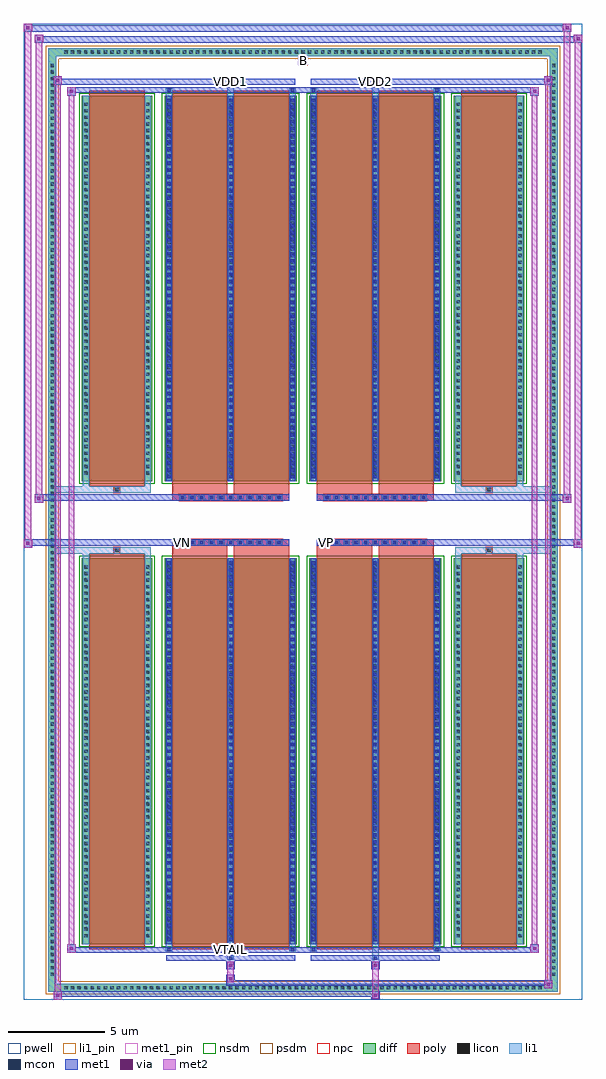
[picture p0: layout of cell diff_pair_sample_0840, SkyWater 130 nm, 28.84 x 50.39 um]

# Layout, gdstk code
import gdstk
lib = gdstk.Library(unit=1e-6, precision=5e-09)
def R(c, l, rs):  # rectangles x0, y0, x1, y1
    for r in rs: c.add(gdstk.rectangle(r[:2], r[2:], *l))
def A(c, l, x, y, w, h, nx, ny, dx, dy):  # array of equal rectangles
    R(c, l, [(x+i*dx, y+j*dy, x+i*dx+w, y+j*dy+h) for i in range(nx) for j in range(ny)])
def P(c, l, *ps):  # polygons
    for p in ps: c.add(gdstk.Polygon(p, *l))
pwell = (64, 44)
diff = (65, 20)
poly = (66, 20)
licon = (66, 44)
li1_pin = (67, 16)
li1 = (67, 20)
mcon = (67, 44)
met1_pin = (68, 16)
met1 = (68, 20)
via = (68, 44)
met2 = (69, 20)
nsdm = (93, 44)
psdm = (94, 20)
npc = (95, 20)

diff_pair_sample_0840 = lib.new_cell('diff_pair_sample_0840')
R(diff_pair_sample_0840, pwell, [(-14.42,-24.76,14.42,25.63), (-11.74,-22.95,-0.01,-0.795), (0.01,-22.95,11.74,-0.795), (-11.74,0.795,-0.01,22.95), (0.01,0.795,11.74,22.95)])
A(diff_pair_sample_0840, diff, -12.445, -24.36, 0.41, 0.41, 73, 2, 0.34, 48.31)
A(diff_pair_sample_0840, diff, -13.15, -23.665, 0.41, 0.41, 1, 139, 0, 0.34)
A(diff_pair_sample_0840, diff, 12.74, -23.665, 0.41, 0.41, 1, 139, 0, 0.34)
R(diff_pair_sample_0840, diff, [(-12.445,-24.36,12.445,-23.95), (-13.15,-23.665,-12.74,23.665), (12.74,-23.665,13.15,23.665), (-11.43,-21.905,-7.79,-1.985), (-7.15,-21.905,-0.32,-1.985), (0.32,-21.905,7.15,-1.985), (7.79,-21.905,11.43,-1.985), (-11.43,1.985,-7.79,21.905), (-7.15,1.985,-0.32,21.905), (0.32,1.985,7.15,21.905), (7.79,1.985,11.43,21.905), (-12.445,23.95,12.445,24.36)])
P(diff_pair_sample_0840, diff, [(13.15,24.36),(-13.15,24.36),(-13.15,-23.95),(-12.74,-23.95),(-12.74,23.95),(12.74,23.95),(12.74,-23.95),(-12.74,-23.95),(-13.15,-23.95),(-13.15,-24.36),(13.15,-24.36)])
A(diff_pair_sample_0840, poly, -6.4, -1.325, 0.33, 0.33, 11, 2, 0.5, 2.32)
A(diff_pair_sample_0840, poly, 1.07, -1.325, 0.33, 0.33, 11, 2, 0.5, 2.32)
R(diff_pair_sample_0840, poly, [(-11.04,-22.155,-8.18,-1.735), (-6.76,-22.155,-3.9,-1.735), (-3.57,-22.155,-0.71,-1.735), (0.71,-22.155,3.57,-1.735), (3.9,-22.155,6.76,-1.735), (8.18,-22.155,11.04,-1.735), (-9.775,-1.735,-9.445,-1.405), (-9.775,-1.735,-9.445,-1.405), (-6.76,-1.735,-3.9,-1.325), (-3.57,-1.735,-0.71,-1.325), (0.71,-1.735,3.57,-1.325), (3.9,-1.735,6.76,-1.325), (9.445,-1.735,9.775,-1.405), (9.445,-1.735,9.775,-1.405), (-6.76,-1.325,-0.71,-0.995), (0.71,-1.325,6.76,-0.995), (-6.76,0.995,-0.71,1.325), (0.71,0.995,6.76,1.325), (-6.76,1.325,-3.9,1.735), (-3.57,1.325,-0.71,1.735), (0.71,1.325,3.57,1.735), (3.9,1.325,6.76,1.735), (-9.775,1.405,-9.445,1.735), (-9.775,1.405,-9.445,1.735), (9.445,1.405,9.775,1.735), (9.445,1.405,9.775,1.735), (-11.04,1.735,-8.18,22.155), (-6.76,1.735,-3.9,22.155), (-3.57,1.735,-0.71,22.155), (0.71,1.735,3.57,22.155), (3.9,1.735,6.76,22.155), (8.18,1.735,11.04,22.155)])
A(diff_pair_sample_0840, licon, -12.325, -24.24, 0.17, 0.17, 73, 2, 0.34, 48.31)
A(diff_pair_sample_0840, licon, -13.03, -23.545, 0.17, 0.17, 1, 139, 0, 0.34)
A(diff_pair_sample_0840, licon, 12.86, -23.545, 0.17, 0.17, 1, 139, 0, 0.34)
A(diff_pair_sample_0840, licon, -11.29, -21.55, 0.17, 0.17, 1, 57, 0, 0.34)
A(diff_pair_sample_0840, licon, -8.1, -21.55, 0.17, 0.17, 1, 57, 0, 0.34)
A(diff_pair_sample_0840, licon, -7.01, -21.55, 0.17, 0.17, 3, 57, 3.19, 0.34)
A(diff_pair_sample_0840, licon, 0.46, -21.55, 0.17, 0.17, 3, 57, 3.19, 0.34)
A(diff_pair_sample_0840, licon, 7.93, -21.55, 0.17, 0.17, 1, 57, 0, 0.34)
A(diff_pair_sample_0840, licon, 11.12, -21.55, 0.17, 0.17, 1, 57, 0, 0.34)
A(diff_pair_sample_0840, licon, -6.32, -1.245, 0.17, 0.17, 11, 2, 0.5, 2.32)
A(diff_pair_sample_0840, licon, 1.15, -1.245, 0.17, 0.17, 11, 2, 0.5, 2.32)
A(diff_pair_sample_0840, licon, -11.29, 2.34, 0.17, 0.17, 1, 57, 0, 0.34)
A(diff_pair_sample_0840, licon, -8.1, 2.34, 0.17, 0.17, 1, 57, 0, 0.34)
A(diff_pair_sample_0840, licon, -7.01, 2.34, 0.17, 0.17, 3, 57, 3.19, 0.34)
A(diff_pair_sample_0840, licon, 0.46, 2.34, 0.17, 0.17, 3, 57, 3.19, 0.34)
A(diff_pair_sample_0840, licon, 7.93, 2.34, 0.17, 0.17, 1, 57, 0, 0.34)
A(diff_pair_sample_0840, licon, 11.12, 2.34, 0.17, 0.17, 1, 57, 0, 0.34)
R(diff_pair_sample_0840, licon, [(-9.695,-1.655,-9.525,-1.485), (9.525,-1.655,9.695,-1.485), (-9.695,1.485,-9.525,1.655), (9.525,1.485,9.695,1.655)])
R(diff_pair_sample_0840, li1_pin, [(-0.25,23.45,0.25,23.95)])
A(diff_pair_sample_0840, li1, -12.405, -24.32, 0.33, 0.33, 73, 2, 0.34, 48.31)
A(diff_pair_sample_0840, li1, -13.11, -23.625, 0.33, 0.33, 1, 139, 0, 0.34)
A(diff_pair_sample_0840, li1, 12.78, -23.625, 0.33, 0.33, 1, 139, 0, 0.34)
A(diff_pair_sample_0840, li1, -7.09, -21.905, 0.33, 19.92, 3, 2, 3.19, 23.89)
A(diff_pair_sample_0840, li1, 0.38, -21.905, 0.33, 19.92, 3, 2, 3.19, 23.89)
A(diff_pair_sample_0840, li1, -7.01, -21.75, 0.17, 0.17, 3, 55, 3.19, 0.36)
A(diff_pair_sample_0840, li1, -7.01, -21.75, 0.17, 19.61, 3, 2, 3.19, 23.89)
A(diff_pair_sample_0840, li1, 0.46, -21.75, 0.17, 0.17, 3, 55, 3.19, 0.36)
A(diff_pair_sample_0840, li1, 0.46, -21.75, 0.17, 19.61, 3, 2, 3.19, 23.89)
A(diff_pair_sample_0840, li1, -11.37, -21.63, 0.33, 0.33, 1, 57, 0, 0.34)
A(diff_pair_sample_0840, li1, -8.18, -21.63, 0.33, 0.33, 1, 57, 0, 0.34)
A(diff_pair_sample_0840, li1, -7.09, -21.63, 0.33, 0.33, 3, 57, 3.19, 0.34)
A(diff_pair_sample_0840, li1, 0.38, -21.63, 0.33, 0.33, 3, 57, 3.19, 0.34)
A(diff_pair_sample_0840, li1, 7.85, -21.63, 0.33, 0.33, 1, 57, 0, 0.34)
A(diff_pair_sample_0840, li1, 11.04, -21.63, 0.33, 0.33, 1, 57, 0, 0.34)
A(diff_pair_sample_0840, li1, -6.4, -1.325, 0.33, 0.33, 11, 2, 0.5, 2.32)
A(diff_pair_sample_0840, li1, 1.07, -1.325, 0.33, 0.33, 11, 2, 0.5, 2.32)
A(diff_pair_sample_0840, li1, -7.01, 2.14, 0.17, 0.17, 3, 55, 3.19, 0.36)
A(diff_pair_sample_0840, li1, 0.46, 2.14, 0.17, 0.17, 3, 55, 3.19, 0.36)
A(diff_pair_sample_0840, li1, -11.37, 2.26, 0.33, 0.33, 1, 57, 0, 0.34)
A(diff_pair_sample_0840, li1, -8.18, 2.26, 0.33, 0.33, 1, 57, 0, 0.34)
A(diff_pair_sample_0840, li1, -7.09, 2.26, 0.33, 0.33, 3, 57, 3.19, 0.34)
A(diff_pair_sample_0840, li1, 0.38, 2.26, 0.33, 0.33, 3, 57, 3.19, 0.34)
A(diff_pair_sample_0840, li1, 7.85, 2.26, 0.33, 0.33, 1, 57, 0, 0.34)
A(diff_pair_sample_0840, li1, 11.04, 2.26, 0.33, 0.33, 1, 57, 0, 0.34)
R(diff_pair_sample_0840, li1, [(-13.15,-24.36,-12.74,-23.95), (-13.15,-24.36,-12.74,-23.95), (-12.74,-24.36,12.74,-23.95), (12.74,-24.36,13.15,-23.95), (12.74,-24.36,13.15,-23.95), (-13.15,-23.95,-12.74,23.95), (12.74,-23.95,13.15,23.95), (-3.9,-22.71,-3.57,-21.905), (-3.82,-22.71,-3.65,-22.54), (3.57,-22.71,3.9,-21.905), (3.65,-22.71,3.82,-22.54), (-7.09,-22.28,-6.76,-21.905), (-7.01,-22.28,-6.84,-22.11), (-0.71,-22.28,-0.38,-21.905), (-0.63,-22.28,-0.46,-22.11), (0.38,-22.28,0.71,-21.905), (0.46,-22.28,0.63,-22.11), (6.76,-22.28,7.09,-21.905), (6.84,-22.28,7.01,-22.11), (-11.37,-21.905,-11.04,-1.985), (-8.18,-21.905,-7.85,-1.985), (7.85,-21.905,8.18,-1.985), (11.04,-21.905,11.37,-1.985), (-11.37,-1.985,-11.04,-1.405), (-8.18,-1.985,-7.85,-1.405), (7.85,-1.985,8.18,-1.405), (11.04,-1.985,11.37,-1.405), (-13.15,-1.735,-9.775,-1.405), (-11.37,-1.735,-9.775,-1.405), (-9.775,-1.735,-9.445,-1.405), (-9.445,-1.735,-7.85,-1.405), (7.85,-1.735,9.445,-1.405), (9.445,-1.735,9.775,-1.405), (9.445,-1.735,13.15,-1.405), (9.775,-1.735,11.37,-1.405), (-13.15,1.405,-9.775,1.735), (-11.37,1.405,-9.775,1.735), (-11.37,1.405,-11.04,1.985), (-9.775,1.405,-9.445,1.735), (-9.445,1.405,-7.85,1.735), (-8.18,1.405,-7.85,1.985), (7.85,1.405,9.445,1.735), (7.85,1.405,8.18,1.985), (9.445,1.405,9.775,1.735), (9.445,1.405,13.15,1.735), (9.775,1.405,11.37,1.735), (11.04,1.405,11.37,1.985), (-11.37,1.985,-11.04,21.905), (-8.18,1.985,-7.85,21.905), (7.85,1.985,8.18,21.905), (11.04,1.985,11.37,21.905), (-7.09,21.905,-6.76,22.28), (-3.9,21.905,-3.57,22.71), (-0.71,21.905,-0.38,22.28), (0.38,21.905,0.71,22.28), (3.57,21.905,3.9,22.71), (6.76,21.905,7.09,22.28), (-7.01,22.11,-6.84,22.28), (-0.63,22.11,-0.46,22.28), (0.46,22.11,0.63,22.28), (6.84,22.11,7.01,22.28), (-3.82,22.54,-3.65,22.71), (3.65,22.54,3.82,22.71), (-13.15,23.95,-12.74,24.36), (-13.15,23.95,-12.74,24.36), (-12.74,23.95,12.74,24.36), (12.74,23.95,13.15,24.36), (12.74,23.95,13.15,24.36)])
A(diff_pair_sample_0840, mcon, -7.01, -21.75, 0.17, 0.17, 3, 55, 3.19, 0.36)
A(diff_pair_sample_0840, mcon, 0.46, -21.75, 0.17, 0.17, 3, 55, 3.19, 0.36)
A(diff_pair_sample_0840, mcon, -6.32, -1.245, 0.17, 0.17, 11, 2, 0.5, 2.32)
A(diff_pair_sample_0840, mcon, 1.15, -1.245, 0.17, 0.17, 11, 2, 0.5, 2.32)
A(diff_pair_sample_0840, mcon, -7.01, 2.14, 0.17, 0.17, 3, 55, 3.19, 0.36)
A(diff_pair_sample_0840, mcon, 0.46, 2.14, 0.17, 0.17, 3, 55, 3.19, 0.36)
R(diff_pair_sample_0840, mcon, [(-3.82,-22.71,-3.65,-22.54), (3.65,-22.71,3.82,-22.54), (-7.01,-22.28,-6.84,-22.11), (-0.63,-22.28,-0.46,-22.11), (0.46,-22.28,0.63,-22.11), (6.84,-22.28,7.01,-22.11), (-7.01,22.11,-6.84,22.28), (-0.63,22.11,-0.46,22.28), (0.46,22.11,0.63,22.28), (6.84,22.11,7.01,22.28), (-3.82,22.54,-3.65,22.71), (3.65,22.54,3.82,22.71)])
R(diff_pair_sample_0840, met1_pin, [(-3.87,-22.32,-3.6,-22.05), (-6.37,-1.285,-6.1,-1.015), (1.1,-1.285,1.37,-1.015), (-3.87,22.5,-3.6,22.77), (3.6,22.5,3.87,22.77)])
A(diff_pair_sample_0840, met1, -7.07, -21.905, 0.29, 19.92, 3, 2, 3.19, 23.89)
A(diff_pair_sample_0840, met1, 0.4, -21.905, 0.29, 19.92, 3, 2, 3.19, 23.89)
A(diff_pair_sample_0840, met1, -7.07, -21.81, 0.29, 0.29, 3, 55, 3.19, 0.36)
A(diff_pair_sample_0840, met1, 0.4, -21.81, 0.29, 0.29, 3, 55, 3.19, 0.36)
A(diff_pair_sample_0840, met1, -6.38, -1.305, 0.29, 0.29, 11, 2, 0.5, 2.32)
A(diff_pair_sample_0840, met1, 1.09, -1.305, 0.29, 0.29, 11, 2, 0.5, 2.32)
A(diff_pair_sample_0840, met1, -7.07, 2.08, 0.29, 0.29, 3, 55, 3.19, 0.36)
A(diff_pair_sample_0840, met1, 0.4, 2.08, 0.29, 0.29, 3, 55, 3.19, 0.36)
R(diff_pair_sample_0840, met1, [(-12.88,-24.76,-12.45,-24.33), (3.52,-24.76,3.95,-24.33), (-12.88,-24.62,3.95,-24.33), (12.45,-24.19,12.88,-23.76), (-3.95,-24.05,12.88,-23.76), (-3.95,-23.91,-3.52,-23.48), (-3.95,-23.2,-3.52,-22.77), (3.52,-23.2,3.95,-22.77), (-7.07,-22.77,-0.4,-22.48), (-3.88,-22.77,-3.59,-22.48), (0.4,-22.77,7.07,-22.48), (3.59,-22.77,3.88,-22.48), (-12.17,-22.34,-11.74,-21.91), (-12.17,-22.34,-7.07,-22.05), (-7.07,-22.34,-6.78,-22.05), (-7.07,-22.34,-0.4,-22.05), (-0.69,-22.34,-0.4,-22.05), (-0.4,-22.34,0.4,-22.05), (0.4,-22.34,0.69,-22.05), (0.4,-22.34,7.07,-22.05), (6.78,-22.34,7.07,-22.05), (7.07,-22.34,12.17,-22.05), (11.74,-22.34,12.17,-21.91), (-14.42,-1.425,-13.99,-0.995), (13.99,-1.425,14.42,-0.995), (-14.42,-1.325,-0.71,-0.995), (-6.76,-1.325,-0.71,-0.995), (0.71,-1.325,6.76,-0.995), (0.71,-1.325,14.42,-0.995), (-13.85,0.895,-13.42,1.325), (13.42,0.895,13.85,1.325), (-13.85,0.995,-6.76,1.325), (-6.76,0.995,-0.71,1.325), (0.71,0.995,6.76,1.325), (6.76,0.995,13.85,1.325), (-12.17,21.91,-11.74,22.34), (11.74,21.91,12.17,22.34), (-12.17,22.05,-7.07,22.34), (-7.07,22.05,-6.78,22.34), (-7.07,22.05,-0.4,22.34), (-0.69,22.05,-0.4,22.34), (-0.4,22.05,0.4,22.34), (0.4,22.05,0.69,22.34), (0.4,22.05,7.07,22.34), (6.78,22.05,7.07,22.34), (7.07,22.05,12.17,22.34), (-12.88,22.48,-12.45,22.91), (-12.88,22.48,-7.07,22.77), (-7.07,22.48,-0.4,22.77), (-3.88,22.48,-3.59,22.77), (0.4,22.48,7.07,22.77), (3.59,22.48,3.88,22.77), (7.07,22.48,12.88,22.77), (12.45,22.48,12.88,22.91), (-13.85,24.63,-13.42,25.06), (-13.85,24.63,-11.74,24.96), (-11.74,24.63,11.74,24.96), (11.74,24.63,14.42,24.96), (13.99,24.63,14.42,25.06), (-14.42,25.2,-13.99,25.63), (-14.42,25.2,-11.74,25.53), (-11.74,25.2,11.74,25.53), (11.74,25.2,13.85,25.53), (13.42,25.2,13.85,25.63)])
R(diff_pair_sample_0840, via, [(-12.74,-24.62,-12.59,-24.47), (3.66,-24.62,3.81,-24.47), (12.59,-24.05,12.74,-23.9), (-3.81,-23.77,-3.66,-23.62), (-3.81,-23.06,-3.66,-22.91), (3.66,-23.06,3.81,-22.91), (-12.03,-22.2,-11.88,-22.05), (11.88,-22.2,12.03,-22.05), (-14.28,-1.285,-14.13,-1.135), (14.13,-1.285,14.28,-1.135), (-13.71,1.035,-13.56,1.185), (13.56,1.035,13.71,1.185), (-12.03,22.05,-11.88,22.2), (11.88,22.05,12.03,22.2), (-12.74,22.62,-12.59,22.77), (12.59,22.62,12.74,22.77), (-13.71,24.77,-13.56,24.92), (14.13,24.77,14.28,24.92), (-14.28,25.34,-14.13,25.49), (13.56,25.34,13.71,25.49)])
R(diff_pair_sample_0840, met2, [(-12.88,-24.76,-12.45,-24.33), (-12.81,-24.76,-12.52,22.91), (-12.52,-24.76,-12.45,-24.33), (-12.83,-24.71,-12.5,-24.38), (3.57,-24.71,3.9,-24.38), (3.57,-24.38,3.9,-23.15), (12.45,-24.19,12.88,-23.76), (12.52,-24.19,12.81,22.91), (12.81,-24.19,12.88,-23.76), (12.5,-24.14,12.83,-23.81), (-3.9,-23.86,-3.57,-23.53), (-3.9,-23.53,-3.57,-23.15), (-3.9,-23.15,-3.57,-22.82), (3.57,-23.15,3.9,-22.82), (-12.17,-22.34,-11.74,-21.91), (-12.1,-22.34,-11.81,22.34), (-11.81,-22.34,-11.74,-21.91), (11.74,-22.34,12.17,-21.91), (11.81,-22.34,12.1,22.34), (12.1,-22.34,12.17,-21.91), (-12.12,-22.29,-11.79,-21.96), (11.79,-22.29,12.12,-21.96), (-14.42,-1.425,-13.99,-0.995), (-14.37,-1.425,-14.04,25.63), (-14.04,-1.425,-13.99,-0.995), (13.99,-1.425,14.42,-0.995), (14.04,-1.425,14.37,25.06), (14.37,-1.425,14.42,-0.995), (-14.37,-1.375,-14.04,-1.045), (14.04,-1.375,14.37,-1.045), (-13.85,0.895,-13.42,1.325), (-13.8,0.895,-13.47,25.06), (-13.47,0.895,-13.42,1.325), (13.42,0.895,13.85,1.325), (13.47,0.895,13.8,25.63), (13.8,0.895,13.85,1.325), (-13.8,0.945,-13.47,1.275), (13.47,0.945,13.8,1.275), (-12.17,21.91,-11.74,22.34), (-11.81,21.91,-11.74,22.34), (11.74,21.91,12.17,22.34), (12.1,21.91,12.17,22.34), (-12.12,21.96,-11.79,22.29), (11.79,21.96,12.12,22.29), (-12.88,22.48,-12.45,22.91), (-12.52,22.48,-12.45,22.91), (12.45,22.48,12.88,22.91), (12.81,22.48,12.88,22.91), (-12.83,22.53,-12.5,22.86), (12.5,22.53,12.83,22.86), (-13.85,24.63,-13.42,25.06), (-13.47,24.63,-13.42,25.06), (13.99,24.63,14.42,25.06), (14.37,24.63,14.42,25.06), (-13.8,24.68,-13.47,25.01), (14.04,24.68,14.37,25.01), (-14.42,25.2,-13.99,25.63), (-14.04,25.2,-13.99,25.63), (13.42,25.2,13.85,25.63), (13.8,25.2,13.85,25.63), (-14.37,25.25,-14.04,25.58), (13.47,25.25,13.8,25.58)])
R(diff_pair_sample_0840, nsdm, [(-11.56,-22.035,-7.66,-1.855), (-7.28,-22.035,-0.19,-1.855), (0.19,-22.035,7.28,-1.855), (7.66,-22.035,11.56,-1.855), (-11.56,1.855,-7.66,22.035), (-7.28,1.855,-0.19,22.035), (0.19,1.855,7.28,22.035), (7.66,1.855,11.56,22.035)])
P(diff_pair_sample_0840, psdm, [(13.28,24.49),(-13.28,24.49),(-13.28,-23.82),(-12.61,-23.82),(-12.61,23.82),(12.61,23.82),(12.61,-23.82),(-12.61,-23.82),(-13.28,-23.82),(-13.28,-24.49),(13.28,-24.49)])
A(diff_pair_sample_0840, npc, -6.42, -1.345, 0.37, 0.37, 11, 2, 0.5, 2.32)
A(diff_pair_sample_0840, npc, 1.05, -1.345, 0.37, 0.37, 11, 2, 0.5, 2.32)
R(diff_pair_sample_0840, npc, [(-9.795,-1.755,-9.425,-1.385), (9.425,-1.755,9.795,-1.385), (-6.42,-1.345,-5.55,-0.975), (-6.42,-1.345,-5.55,-0.975), (-5.92,-1.345,-5.05,-0.975), (-5.92,-1.345,-5.05,-0.975), (-5.42,-1.345,-4.55,-0.975), (-5.42,-1.345,-4.55,-0.975), (-4.92,-1.345,-4.05,-0.975), (-4.92,-1.345,-4.05,-0.975), (-4.42,-1.345,-3.55,-0.975), (-4.42,-1.345,-3.55,-0.975), (-3.92,-1.345,-3.05,-0.975), (-3.92,-1.345,-3.05,-0.975), (-3.42,-1.345,-2.55,-0.975), (-3.42,-1.345,-2.55,-0.975), (-2.92,-1.345,-2.05,-0.975), (-2.92,-1.345,-2.05,-0.975), (-2.42,-1.345,-1.55,-0.975), (-2.42,-1.345,-1.55,-0.975), (-1.92,-1.345,-1.05,-0.975), (-1.92,-1.345,-1.05,-0.975), (1.05,-1.345,1.92,-0.975), (1.05,-1.345,1.92,-0.975), (1.55,-1.345,2.42,-0.975), (1.55,-1.345,2.42,-0.975), (2.05,-1.345,2.92,-0.975), (2.05,-1.345,2.92,-0.975), (2.55,-1.345,3.42,-0.975), (2.55,-1.345,3.42,-0.975), (3.05,-1.345,3.92,-0.975), (3.05,-1.345,3.92,-0.975), (3.55,-1.345,4.42,-0.975), (3.55,-1.345,4.42,-0.975), (4.05,-1.345,4.92,-0.975), (4.05,-1.345,4.92,-0.975), (4.55,-1.345,5.42,-0.975), (4.55,-1.345,5.42,-0.975), (5.05,-1.345,5.92,-0.975), (5.05,-1.345,5.92,-0.975), (5.55,-1.345,6.42,-0.975), (5.55,-1.345,6.42,-0.975), (-6.42,0.975,-5.55,1.345), (-6.42,0.975,-5.55,1.345), (-5.92,0.975,-5.05,1.345), (-5.92,0.975,-5.05,1.345), (-5.42,0.975,-4.55,1.345), (-5.42,0.975,-4.55,1.345), (-4.92,0.975,-4.05,1.345), (-4.92,0.975,-4.05,1.345), (-4.42,0.975,-3.55,1.345), (-4.42,0.975,-3.55,1.345), (-3.92,0.975,-3.05,1.345), (-3.92,0.975,-3.05,1.345), (-3.42,0.975,-2.55,1.345), (-3.42,0.975,-2.55,1.345), (-2.92,0.975,-2.05,1.345), (-2.92,0.975,-2.05,1.345), (-2.42,0.975,-1.55,1.345), (-2.42,0.975,-1.55,1.345), (-1.92,0.975,-1.05,1.345), (-1.92,0.975,-1.05,1.345), (1.05,0.975,1.92,1.345), (1.05,0.975,1.92,1.345), (1.55,0.975,2.42,1.345), (1.55,0.975,2.42,1.345), (2.05,0.975,2.92,1.345), (2.05,0.975,2.92,1.345), (2.55,0.975,3.42,1.345), (2.55,0.975,3.42,1.345), (3.05,0.975,3.92,1.345), (3.05,0.975,3.92,1.345), (3.55,0.975,4.42,1.345), (3.55,0.975,4.42,1.345), (4.05,0.975,4.92,1.345), (4.05,0.975,4.92,1.345), (4.55,0.975,5.42,1.345), (4.55,0.975,5.42,1.345), (5.05,0.975,5.92,1.345), (5.05,0.975,5.92,1.345), (5.55,0.975,6.42,1.345), (5.55,0.975,6.42,1.345), (-9.795,1.385,-9.425,1.755), (9.425,1.385,9.795,1.755)])
diff_pair_sample_0840.add(gdstk.Label('VTAIL', (-3.735,-22.185), layer=68, texttype=5))
diff_pair_sample_0840.add(gdstk.Label('VN', (-6.235,-1.15), layer=68, texttype=5))
diff_pair_sample_0840.add(gdstk.Label('VP', (1.235,-1.15), layer=68, texttype=5))
diff_pair_sample_0840.add(gdstk.Label('B', (0,23.7), layer=67, texttype=5))
diff_pair_sample_0840.add(gdstk.Label('VDD2', (3.735,22.635), layer=68, texttype=5))
diff_pair_sample_0840.add(gdstk.Label('VDD1', (-3.735,22.635), layer=68, texttype=5))

lib.write_gds('diff_pair_sample_0840.gds')
